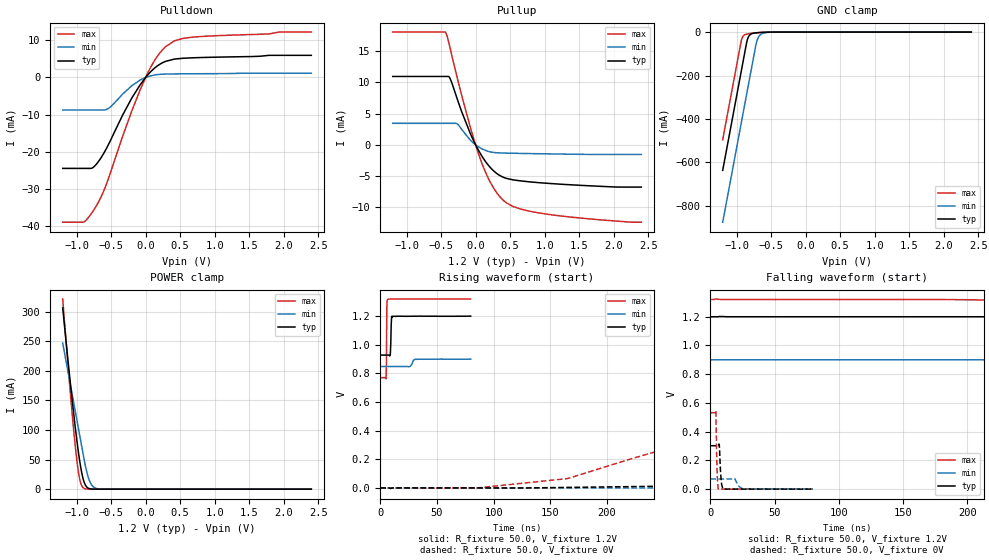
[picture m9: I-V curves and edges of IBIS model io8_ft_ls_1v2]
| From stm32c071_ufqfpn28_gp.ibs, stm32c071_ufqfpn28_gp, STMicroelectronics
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[Model]   io8_ft_ls_1v2
Model_type I/O
Polarity   Non-Inverting
Enable   Active-Low
| CAP_THRESHOLD on pad IOFT is "UDTCAPC" :
| Rising=30.0% of vddiom   Falling=70.0% of vddiom
| C_comp min and max val. don't necessarily correlate with the min and max pvt
| but are the smallest and greatest pad capacitance found.
| var   typ   min   max
C_comp   1.66501pF  1.56668pF  1.68815pF
|C_comp_pullup   962.47000fF  901.77500fF  949.31500fF
|C_comp_pulldown   702.54001fF  664.90502fF  738.83001fF
Vinl = 450.0mV
Vinh = 660.0mV
Vmeas = 600.0mV   | Reference voltage for timing measurements
Cref  = 50.0pF   | Timing specification test load capacitance value
Rref  = 1.0MOhm   | Timing specification test load resistance value
Vref  = 660.0mV   | Timing specification test load voltage
[Model Spec]
| TIME_THRESHOLD on pin ZIV12 is "CMOS" :
| Rising=50.0% of vdd   Falling=50.0% of vdd
Vinl 458.70000mV 361.70000mV 499.70000mV
Vinh 728.30000mV 549.30000mV 792.30000mV
| variable   typ   min   max
[Temperature Range] 25.0 125.0 -40.0
| variable   typ   min   max
[Voltage Range] 1.2V 900.0mV 1.32V
| variable   typ   min   max
[POWER Clamp Reference] 1.2V 900.0mV 1.32V
| variable   typ   min   max
[GND Clamp Reference] 0V 0V 0V
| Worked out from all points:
|   slope of the pulldown table from 0 to 0.18 V, typ, clamps not added: 55.6 ohm
|   slope of the pullup table from 0 to 0.18 V, typ, clamps not added: 56.3 ohm
|   GND clamp passes 1 mA (typ) near -0.61 V on its own axis
|   POWER clamp passes 1 mA (typ) near -0.81 V on its own axis
|   rising waveform, R_fixture 50.0, V_fixture 1.2V: 20-80 % time 548ps typ, 1.74ns min, 319ps max; typ from 0.928 V to 1.2 V
|   falling waveform, R_fixture 50.0, V_fixture 1.2V: 20-80 % time 335ns typ, 1.08us min, 194ns max; typ from 1.2 V to 0.928 V
|   rising waveform, R_fixture 50.0, V_fixture 0V: 20-80 % time 277ns typ, 645ns min, 163ns max; typ from 0 V to 0.302 V
|   falling waveform, R_fixture 50.0, V_fixture 0V: 20-80 % time 1.14ns typ, 3.03ns min, 785ps max; typ from 0.302 V to 0 V
[POWER Clamp]
-1.2V     306.2mA    246.9mA    321.2mA
-1.09V    180mA      177.2mA    163.4mA
-1.05V    136.9mA    151.8mA    110.9mA
-1.01V    96.55mA    126.4mA    64.02mA
-960mV    52.29mA    94.73mA    20.68mA
-930mV    31.08mA    75.71mA    7.282mA
-900mV    15.67mA    56.69mA    2.025mA
-860mV    4.779mA    33.42mA    315.2uA
-810mV    823.2uA    13.62mA    29.21uA
-760mV    129.2uA    4.248mA    2.687uA
-690mV    9.442uA    651.7uA    95.02nA
2.4V      0A         0A         0A
[GND Clamp]
-1.2V     -636.9mA   -875.6mA   -495.8mA
-940mV    -194.9mA   -433.6mA   -53.78mA
-920mV    -160.9mA   -399.6mA   -28.06mA
-890mV    -109.9mA   -348.6mA   -14.28mA
-850mV    -43.09mA   -280.6mA   -9.18mA
-830mV    -23.96mA   -246.6mA   -8.001mA
-790mV    -9.264mA   -178.6mA   -6.254mA
-710mV    -3.12mA    -46.23mA   -3.486mA
-680mV    -2.303mA   -22.08mA   -2.625mA
-650mV    -1.674mA   -11.03mA   -1.876mA
-450mV    -34.83uA   -165.4uA   -17.32uA
2.4V      336.3pA    36.26nA    239.5pA
| variable   typ   min   max
[Pullup Reference] 1.2V 900.0mV 1.32V
| variable   typ   min   max
[Pulldown Reference] 0V 0V 0V
[Pullup]
-1.2V     10.94mA    3.44mA     18.03mA
-430mV    10.94mA    3.44mA     17.9mA
-370mV    10.62mA    3.44mA     15.52mA
-270mV    7.48mA     3.387mA    10.91mA
-80mV     1.904mA    795.7uA    2.965mA
60mV      -1.233mA   -444.5uA   -2mA
150mV     -2.769mA   -922.8uA   -4.531mA
240mV     -3.942mA   -1.186mA   -6.527mA
430mV     -5.313mA   -1.325mA   -9.149mA
670mV     -5.799mA   -1.382mA   -10.34mA
1.04V     -6.162mA   -1.45mA    -11.11mA
2.4V      -6.767mA   -1.538mA   -12.38mA
[Pulldown]
-1.2V     -24.47mA   -8.75mA    -38.94mA
-890mV    -24.47mA   -8.75mA    -38.83mA
-780mV    -24.4mA    -8.75mA    -36.48mA
-710mV    -23.27mA   -8.75mA    -34.44mA
-530mV    -17.77mA   -8.214mA   -26.77mA
-330mV    -10.03mA   -4.427mA   -15.71mA
-80mV     -2.009mA   -705.3uA   -3.396mA
110mV     2.198mA    601.5uA    3.95mA
290mV     4.348mA    923.5uA    8.288mA
420mV     4.961mA    964.1uA    9.88mA
670mV     5.29mA     1.001mA    10.83mA
2.4V      5.965mA    1.157mA    12.22mA
[Ramp]
dV/dt_r 181.32466mV/276.86448ns 42.35773mV/645.45465ns 319.26615mV/162.58827ns
dV/dt_f 162.95018mV/335.02075ns 30.59025mV/1.0772us 329.57927mV/194.09953ns
R_load = 50.0
| Removed startup time: 0s 0s 0s  .
| Removed end time: 79.75ns.
[Rising Waveform]
R_fixture   = 50.0
V_fixture   = 1.2V
V_fixture_min = 900.0mV
V_fixture_max = 1.32V
0s        928.4mV    849mV      770.7mV
5.1ns     928.5mV    849mV      769.1mV
5.4ns     928.5mV    849mV      879.9mV
5.75ns    928.5mV    849mV      1.242V
5.95ns    928.5mV    849mV      1.308V
6.5ns     928.5mV    849mV      1.317V
8.9ns     939.4mV    849mV      1.32V
10.05ns   1.199V     849mV      1.32V
30.2ns    1.2V       898.8mV    1.32V
79.75ns   1.2V       900.3mV    1.32V
| Removed startup time: 0s 0s 0s  .
| Removed end time: 7.999us.
[Falling Waveform]
R_fixture   = 50.0
V_fixture   = 1.2V
V_fixture_min = 900.0mV
V_fixture_max = 1.32V
0s        1.2V       900mV      1.32V
262ns     1.2V       900mV      1.293V
340ns     1.199V     900mV      1.173V
412ns     1.192V     900mV      1.015V
517ns     1.168V     900mV      871mV
631ns     1.105V     900mV      810.5mV
873ns     987.1mV    900mV      776.5mV
1.424us   931.1mV    899.1mV    770.8mV
3.556us   928.5mV    852.6mV    770.7mV
7.999us   928.4mV    849mV      770.7mV
| Removed startup time: 0s 0s 0s  .
| Removed end time: 7.999us.
[Rising Waveform]
R_fixture   = 50.0
V_fixture   = 0V
V_fixture_min = 0V
V_fixture_max = 0V
0s        58.14nV    92.6nV     -3.932uV
85ns      104.3nV    11.89uV    -76.48uV
165ns     3.645mV    3.029uV    65.39mV
278ns     34.8mV     7.766uV    332.9mV
367ns     101.3mV    -1.036uV   457mV
447ns     162.8mV    669.1uV    503.9mV
609ns     250.4mV    2.026mV    528.1mV
864ns     297.9mV    14.23mV    531.9mV
1.803us   301.9mV    67.22mV    532mV
7.999us   302.2mV    70.6mV     532.1mV
| Removed startup time: 0s 0s 0s  .
| Removed end time: 79.75ns.
[Falling Waveform]
R_fixture   = 50.0
V_fixture   = 0V
V_fixture_min = 0V
V_fixture_max = 0V
0s        302.1mV    70.68mV    532mV
4.3ns     302.1mV    70.68mV    541.8mV
5.25ns    302.1mV    70.68mV    143.7mV
6.2ns     301.5mV    70.68mV    910.6uV
7ns       307.5mV    70.68mV    2.477mV
8.4ns     71.32mV    70.68mV    715.1uV
9.85ns    929.2uV    70.68mV    -201.5uV
18.3ns    34.96uV    74.88mV    -198.3uV
27.8ns    -210uV     268uV      263uV
79.75ns   184.8uV    -64.92uV   284.6uV
